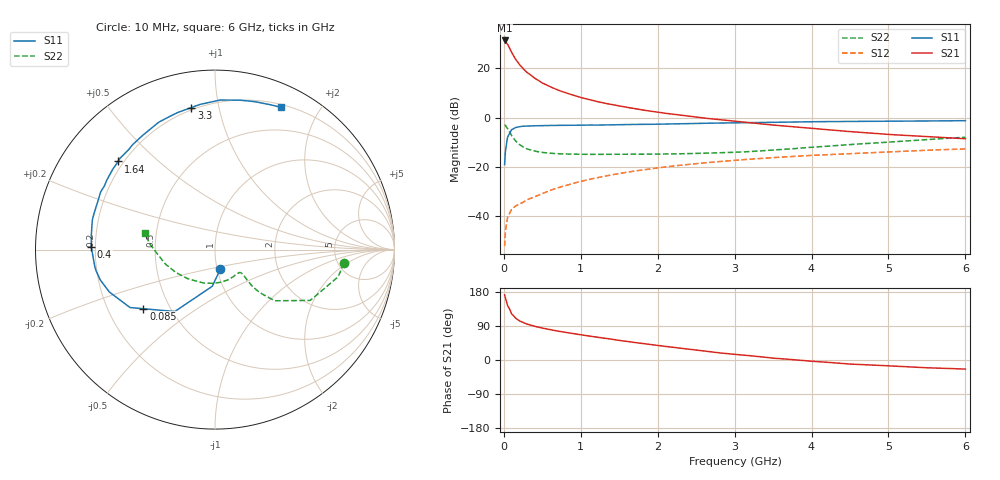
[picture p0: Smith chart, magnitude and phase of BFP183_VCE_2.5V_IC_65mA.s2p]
! Infineon Technologies  Discrete & RF Semiconductors
! BFP183
! VCE = 2.5 V,  IC =  65 mA
! Common Emitter S-Parameters:  Jan 2016
# GHz  S  MA  R  50
!  f  S11  S21  S12  S22
! GHz  MAG  ANG  MAG  ANG  MAG  ANG  MAG  ANG
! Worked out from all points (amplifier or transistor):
!   210 points, 10 MHz to 6 GHz, reference 50 ohm
!   highest |S21| = 31.3 dB at 10 MHz (marker M1)
!   |S21| within 3 dB of that: start of sweep to 71.34 MHz
!   unconditionally stable (mu >= 1): start of sweep to 37.93 MHz; 166.4 MHz to end of sweep
!   at 185 MHz: K = 1.06, MAG = 27.3 dB, |S12| = -35.2 dB
!   at 1.52 GHz: K = 1.74, MAG = 8.6 dB, |S12| = -22.5 dB
!   at 6 GHz: K = 1.34, MAG = -1.4 dB, |S12| = -12.6 dB
!   S11 on the Smith chart (normalised r, x): 10 MHz: 1.04, -0.23; 85 MHz: 0.35, -0.32; 400 MHz: 0.18, +0.01; 1.64 GHz: 0.18, +0.38; 3.3 GHz: 0.19, +0.83; 6 GHz: 0.23, +1.54
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0.01  0.1125 -74.7  36.93 171.7  0.0025 61.1  0.7226 -6.0
0.02  0.2047 -94.2  36.16 163.5  0.0047 67.6  0.7023 -12.5
0.05  0.4113 -123.0  30.53 142.7  0.0097 62.2  0.6012 -28.1
0.085  0.5171 -140.4  23.61 129.8  0.0125 50.6  0.4843 -36.0
0.1  0.5729 -145.7  21.18 121.9  0.0138 47.1  0.438 -40.6
0.15  0.6346 -158.2  15.57 110.6  0.0162 46.8  0.3425 -44.0
0.2  0.6614 -165.3  12.18 103.5  0.0178 47.8  0.2886 -44.5
0.24  0.6726 -169.8  10.35 99.6  0.019 49.2  0.2629 -44.0
0.3  0.6789 -175.2  8.344 94.8  0.0217 51.8  0.2342 -42.8
0.4  0.6894 178.9  6.352 88.7  0.025 54.7  0.2108 -41.7
0.5  0.693 174.2  5.078 84.1  0.0291 56.7  0.1983 -41.5
0.6  0.6981 169.7  4.272 80.0  0.0337 59.2  0.1913 -42.1
0.7  0.7033 166.1  3.649 76.3  0.0381 60.9  0.1867 -43.3
1.02  0.7093 155.5  2.537 65.9  0.0522 61.8  0.1819 -49.7
1.3  0.7163 147.4  1.987 57.7  0.065 61.1  0.182 -57.1
1.64  0.7302 137.7  1.59 47.9  0.0805 58.8  0.183 -67.0
2.02  0.7439 127.6  1.281 37.9  0.0972 55.4  0.1848 -79.2
3.1  0.7939 103.4  0.822 13.2  0.1412 44.2  0.2029 -119.5
3.3  0.8019 99.5  0.765 9.3  0.1484 42.1  0.2112 -126.8
4.1  0.8348 86.5  0.593 -4.6  0.1758 33.6  0.2586 -152.9
5.1  0.8547 74.0  0.451 -16.4  0.2064 24.4  0.329 -177.5
6  0.8738 65.2  0.376 -24.0  0.2338 14.7  0.4029 166.7
